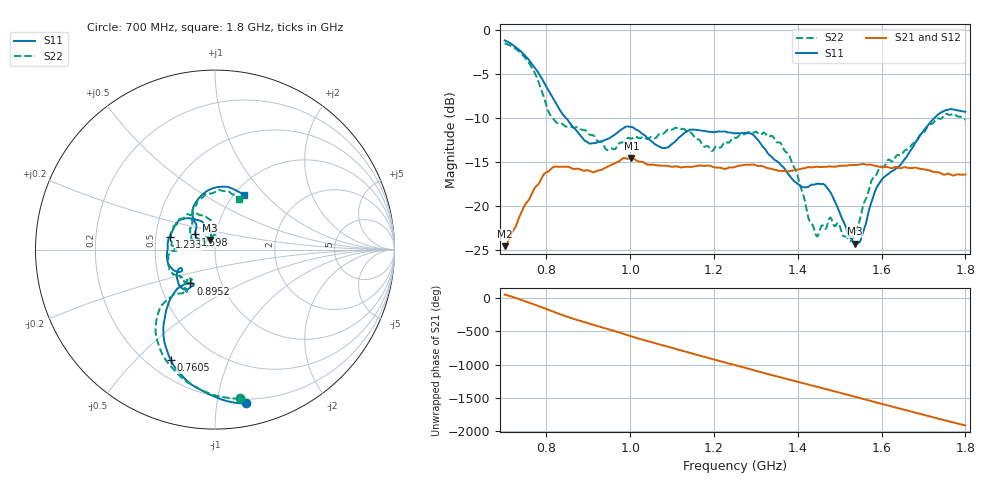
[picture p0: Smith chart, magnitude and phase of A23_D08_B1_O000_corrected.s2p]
! Created with skrf 1.9.0 (http://scikit-rf.org).
# Hz S RI R 50.0
!freq ReS11 ImS11 ReS21 ImS21 ReS12 ImS12 ReS22 ImS22
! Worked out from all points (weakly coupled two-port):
!   1601 points, 700 MHz to 1.8 GHz, reference 50 ohm
!   highest |S21| = -14.53 dB at 1.002 GHz (marker M1); lowest = -24.6 dB at 700 MHz (marker M2)
!   lowest |S11| = -24.3 dB at 1.536 GHz (marker M3), VSWR 1.13, Z = 47 + j5.12 ohm
!   |S11| at or under -10 dB: 847 MHz to 1.726 GHz (878.7 MHz wide, 68.3 % of centre)
!   |S22| runs from -24.0 to -1.5 dB; largest |S21 - S12| = 0.0037
!   S11 on the Smith chart (normalised r, x): 700 MHz: 0.17, -1.21; 760.5 MHz: 0.29, -0.64; 895.2 MHz: 0.71, -0.28; 1.233 GHz: 0.59, +0.09; 1.598 GHz: 0.79, +0.14; 1.8 GHz: 1.12, +0.76
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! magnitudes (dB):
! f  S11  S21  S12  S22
! 700 MHz  -1.2  -24.6  -24.3  -1.5
! 760.5 MHz  -3.6  -19.1  -18.9  -3.9
! 814.8 MHz  -7.7  -15.6  -15.7  -10.0
! 883.6 MHz  -12.1  -15.9  -15.8  -11.3
! 895.2 MHz  -12.7  -15.9  -16.0  -11.5
! 945.4 MHz  -12.4  -15.5  -15.6  -13.6
! 1.002 GHz  -11.0  -14.5  -14.6  -12.3
! 1.067 GHz  -13.2  -15.4  -15.3  -11.9
! 1.233 GHz  -11.6  -15.7  -15.7  -12.8
! 1.25 GHz  -11.7  -15.6  -15.5  -12.2
! 1.292 GHz  -11.8  -15.3  -15.3  -11.7
! 1.359 GHz  -15.3  -16.0  -16.0  -12.9
! 1.395 GHz  -17.3  -15.9  -15.9  -15.9
! 1.434 GHz  -17.6  -15.6  -15.6  -22.0
! 1.446 GHz  -17.5  -15.5  -15.5  -23.5
! 1.473 GHz  -18.1  -15.5  -15.5  -21.8
! 1.536 GHz  -24.3  -15.3  -15.3  -23.1
! 1.55 GHz  -23.8  -15.2  -15.3  -21.1
! 1.598 GHz  -17.2  -15.6  -15.5  -15.5
! 1.617 GHz  -16.3  -15.6  -15.6  -14.7
! 1.735 GHz  -9.6  -16.2  -16.2  -10.0
! 1.8 GHz  -9.3  -16.4  -16.4  -10.2
